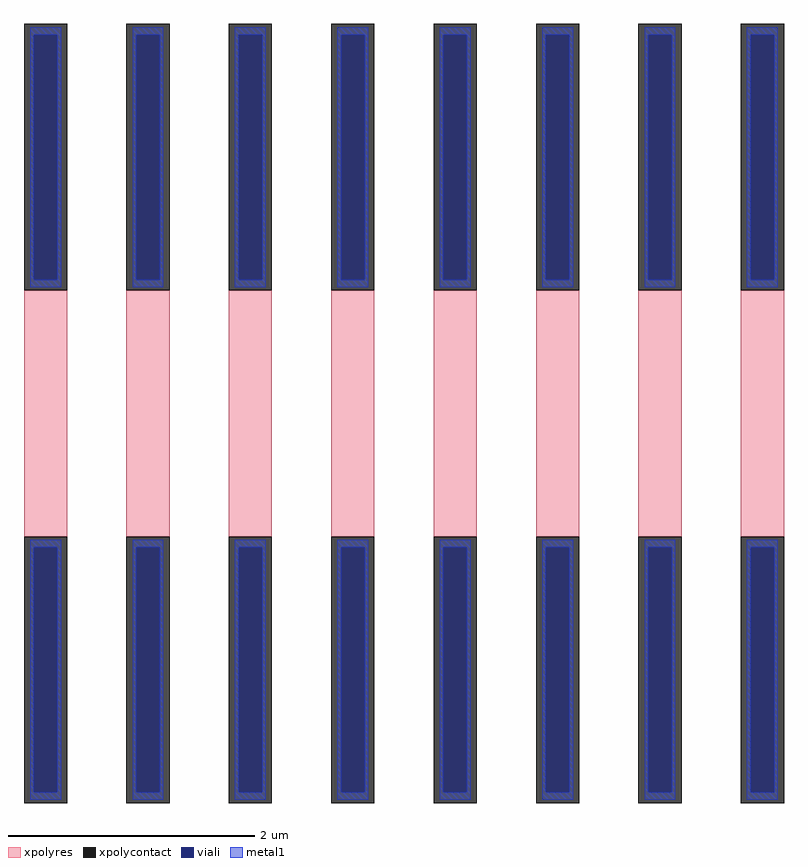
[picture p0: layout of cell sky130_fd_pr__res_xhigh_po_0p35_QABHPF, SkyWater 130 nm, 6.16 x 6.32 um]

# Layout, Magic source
magic
tech sky130A
magscale 1 2
<< xpolycontact >>
rect -616 200 -546 632
rect -616 -632 -546 -200
rect -450 200 -380 632
rect -450 -632 -380 -200
rect -284 200 -214 632
rect -284 -632 -214 -200
rect -118 200 -48 632
rect -118 -632 -48 -200
rect 48 200 118 632
rect 48 -632 118 -200
rect 214 200 284 632
rect 214 -632 284 -200
rect 380 200 450 632
rect 380 -632 450 -200
rect 546 200 616 632
rect 546 -632 616 -200
<< xpolyres >>
rect -616 -200 -546 200
rect -450 -200 -380 200
rect -284 -200 -214 200
rect -118 -200 -48 200
rect 48 -200 118 200
rect 214 -200 284 200
rect 380 -200 450 200
rect 546 -200 616 200
<< viali >>
rect -600 217 -562 614
rect -434 217 -396 614
rect -268 217 -230 614
rect -102 217 -64 614
rect 64 217 102 614
rect 230 217 268 614
rect 396 217 434 614
rect 562 217 600 614
rect -600 -614 -562 -217
rect -434 -614 -396 -217
rect -268 -614 -230 -217
rect -102 -614 -64 -217
rect 64 -614 102 -217
rect 230 -614 268 -217
rect 396 -614 434 -217
rect 562 -614 600 -217
<< metal1 >>
rect -606 614 -556 626
rect -606 217 -600 614
rect -562 217 -556 614
rect -606 205 -556 217
rect -440 614 -390 626
rect -440 217 -434 614
rect -396 217 -390 614
rect -440 205 -390 217
rect -274 614 -224 626
rect -274 217 -268 614
rect -230 217 -224 614
rect -274 205 -224 217
rect -108 614 -58 626
rect -108 217 -102 614
rect -64 217 -58 614
rect -108 205 -58 217
rect 58 614 108 626
rect 58 217 64 614
rect 102 217 108 614
rect 58 205 108 217
rect 224 614 274 626
rect 224 217 230 614
rect 268 217 274 614
rect 224 205 274 217
rect 390 614 440 626
rect 390 217 396 614
rect 434 217 440 614
rect 390 205 440 217
rect 556 614 606 626
rect 556 217 562 614
rect 600 217 606 614
rect 556 205 606 217
rect -606 -217 -556 -205
rect -606 -614 -600 -217
rect -562 -614 -556 -217
rect -606 -626 -556 -614
rect -440 -217 -390 -205
rect -440 -614 -434 -217
rect -396 -614 -390 -217
rect -440 -626 -390 -614
rect -274 -217 -224 -205
rect -274 -614 -268 -217
rect -230 -614 -224 -217
rect -274 -626 -224 -614
rect -108 -217 -58 -205
rect -108 -614 -102 -217
rect -64 -614 -58 -217
rect -108 -626 -58 -614
rect 58 -217 108 -205
rect 58 -614 64 -217
rect 102 -614 108 -217
rect 58 -626 108 -614
rect 224 -217 274 -205
rect 224 -614 230 -217
rect 268 -614 274 -217
rect 224 -626 274 -614
rect 390 -217 440 -205
rect 390 -614 396 -217
rect 434 -614 440 -217
rect 390 -626 440 -614
rect 556 -217 606 -205
rect 556 -614 562 -217
rect 600 -614 606 -217
rect 556 -626 606 -614
<< properties >>
string gencell sky130_fd_pr__res_xhigh_po_0p35
string library sky130
string parameters w 0.35 l 2.0 m 1 nx 8 wmin 0.350 lmin 0.50 rho 2000 val 12.504k dummy 0 dw 0.0 term 188.2 sterm 0.0 caplen 0 wmax 0.350 guard 0 glc 1 grc 1 gtc 1 gbc 1 compatible {sky130_fd_pr__res_xhigh_po_0p35  sky130_fd_pr__res_xhigh_po_0p69 sky130_fd_pr__res_xhigh_po_1p41  sky130_fd_pr__res_xhigh_po_2p85 sky130_fd_pr__res_xhigh_po_5p73} snake 0 full_metal 1 n_guard 0 hv_guard 0 vias 1 viagb 0 viagt 0 viagl 0 viagr 0
<< end >>
